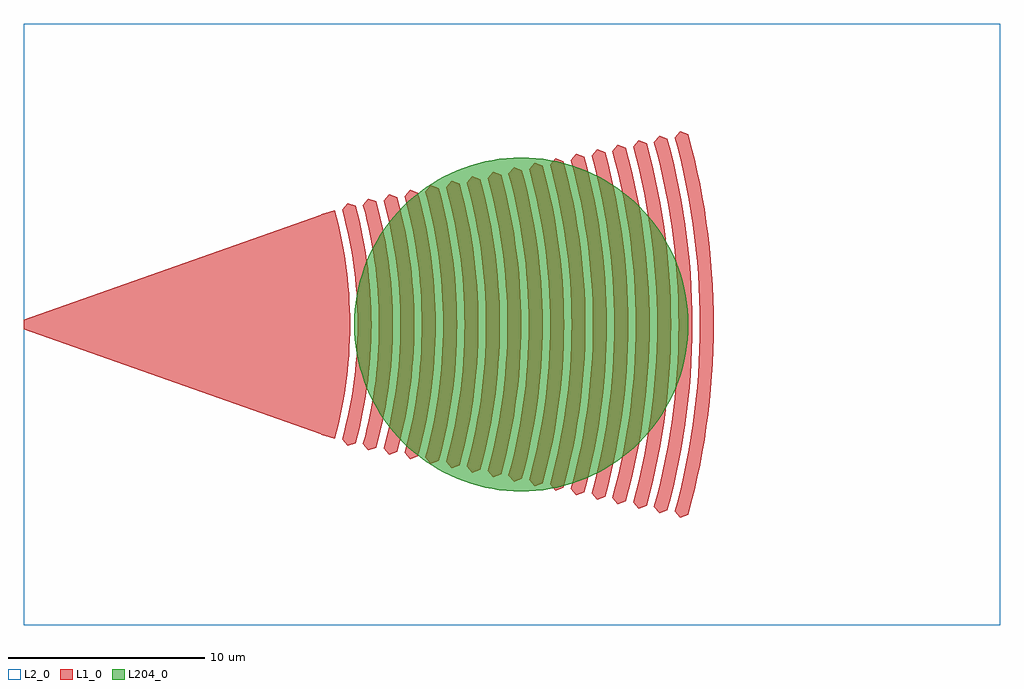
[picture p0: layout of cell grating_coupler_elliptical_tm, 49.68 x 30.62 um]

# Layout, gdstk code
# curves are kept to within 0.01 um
import gdstk
lib = gdstk.Library(unit=1e-6, precision=1e-09)
def R(c, l, rs):  # rectangles x0, y0, x1, y1
    for r in rs: c.add(gdstk.rectangle(r[:2], r[2:], *l))
def P(c, l, *ps):  # polygons
    for p in ps: c.add(gdstk.Polygon(p, *l))
L1_0 = (1, 0)
L2_0 = (2, 0)
L204_0 = (204, 0)

grating_coupler_elliptic = lib.new_cell('grating_coupler_elliptical_tm')
P(grating_coupler_elliptic, L1_0, [(16.476,-6.17),(16.194,-5.852),(16.39,-5.083),(16.558,-4.312),(16.758,-3.145),(16.855,-2.362),(16.925,-1.576),(16.968,-0.789),(16.982,0),(16.968,0.789),(16.925,1.576),(16.855,2.362),(16.758,3.145),(16.558,4.312),(16.39,5.083),(16.194,5.852),(16.476,6.17),(16.878,6.032),(17.078,5.246),(17.251,4.449),(17.457,3.245),(17.598,2.032),(17.656,1.22),(17.689,0),(17.656,-1.22),(17.598,-2.032),(17.457,-3.245),(17.251,-4.449),(17.078,-5.246),(16.878,-6.032)],
  [(17.534,-6.398),(17.252,-6.08),(17.456,-5.282),(17.63,-4.48),(17.776,-3.673),(17.892,-2.861),(17.98,-2.046),(18.038,-1.229),(18.07,0),(18.038,1.229),(17.98,2.046),(17.892,2.861),(17.776,3.673),(17.63,4.48),(17.456,5.282),(17.252,6.08),(17.534,6.398),(17.936,6.261),(18.144,5.444),(18.323,4.618),(18.538,3.368),(18.642,2.53),(18.744,1.267),(18.778,0),(18.744,-1.267),(18.642,-2.53),(18.538,-3.368),(18.323,-4.618),(18.144,-5.444),(17.936,-6.261)],
  [(18.592,-6.627),(18.311,-6.309),(18.616,-5.065),(18.782,-4.231),(18.918,-3.391),(19.023,-2.547),(19.099,-1.699),(19.144,-0.85),(19.16,0),(19.144,0.85),(19.099,1.699),(19.023,2.547),(18.918,3.391),(18.782,4.231),(18.616,5.065),(18.311,6.309),(18.592,6.627),(18.994,6.489),(19.21,5.643),(19.396,4.786),(19.617,3.491),(19.77,2.186),(19.852,0.875),(19.867,0),(19.852,-0.875),(19.77,-2.186),(19.617,-3.491),(19.396,-4.786),(19.21,-5.643),(18.994,-6.489)],
  [(19.65,-6.855),(19.369,-6.537),(19.587,-5.679),(19.776,-4.817),(19.998,-3.514),(20.108,-2.639),(20.186,-1.761),(20.233,-0.881),(20.248,0),(20.233,0.881),(20.186,1.761),(20.108,2.639),(19.998,3.514),(19.776,4.817),(19.587,5.679),(19.369,6.537),(19.65,6.855),(20.052,6.718),(20.276,5.841),(20.553,4.509),(20.698,3.614),(20.855,2.263),(20.919,1.359),(20.956,0),(20.919,-1.359),(20.855,-2.263),(20.698,-3.614),(20.553,-4.509),(20.276,-5.841),(20.052,-6.718)],
  [(20.71,-7.084),(20.428,-6.766),(20.654,-5.878),(20.847,-4.986),(21.009,-4.087),(21.14,-3.184),(21.236,-2.277),(21.302,-1.367),(21.338,0),(21.302,1.367),(21.236,2.277),(21.14,3.184),(21.009,4.087),(20.847,4.986),(20.654,5.878),(20.428,6.766),(20.71,7.084),(21.112,6.946),(21.342,6.04),(21.542,5.123),(21.778,3.737),(21.94,2.34),(22.008,1.405),(22.045,0),(22.008,-1.405),(21.94,-2.34),(21.778,-3.737),(21.542,-5.123),(21.342,-6.04),(21.112,-6.946)],
  [(21.768,-7.313),(21.485,-6.994),(21.719,-6.076),(21.92,-5.154),(22.088,-4.226),(22.222,-3.292),(22.321,-2.354),(22.39,-1.414),(22.426,0),(22.39,1.414),(22.321,2.354),(22.222,3.292),(22.088,4.226),(21.92,5.154),(21.719,6.076),(21.485,6.994),(21.768,7.313),(22.17,7.175),(22.408,6.239),(22.704,4.816),(22.858,3.86),(23.026,2.417),(23.095,1.451),(23.134,0),(23.095,-1.451),(23.026,-2.417),(22.858,-3.86),(22.704,-4.816),(22.408,-6.239),(22.17,-7.175)],
  [(22.826,-7.541),(22.544,-7.223),(22.786,-6.275),(22.992,-5.323),(23.165,-4.364),(23.304,-3.4),(23.446,-1.946),(23.498,-0.974),(23.515,0),(23.498,0.974),(23.446,1.946),(23.304,3.4),(23.165,4.364),(22.992,5.323),(22.786,6.275),(22.544,7.223),(22.826,7.541),(23.228,7.403),(23.584,5.95),(23.778,4.969),(24.006,3.488),(24.112,2.494),(24.205,0.999),(24.223,0),(24.205,-0.999),(24.112,-2.494),(24.006,-3.488),(23.778,-4.969),(23.584,-5.95),(23.228,-7.403)],
  [(23.884,-7.77),(23.602,-7.451),(23.851,-6.474),(24.064,-5.491),(24.244,-4.502),(24.385,-3.507),(24.533,-2.007),(24.588,-1.004),(24.604,0),(24.588,1.004),(24.533,2.007),(24.385,3.507),(24.244,4.502),(24.064,5.491),(23.851,6.474),(23.602,7.451),(23.884,7.77),(24.286,7.632),(24.653,6.133),(24.854,5.123),(24.942,4.615),(25.088,3.595),(25.198,2.571),(25.293,1.03),(25.312,0),(25.293,-1.03),(25.198,-2.571),(25.088,-3.595),(24.942,-4.615),(24.854,-5.123),(24.653,-6.133),(24.286,-7.632)],
  [(24.942,-7.998),(24.66,-7.68),(24.917,-6.672),(25.137,-5.66),(25.399,-4.128),(25.528,-3.1),(25.62,-2.069),(25.676,-1.035),(25.694,0),(25.676,1.035),(25.62,2.069),(25.528,3.1),(25.399,4.128),(25.137,5.66),(24.917,6.672),(24.66,7.68),(24.942,7.998),(25.344,7.861),(25.606,6.835),(25.929,5.276),(26.17,3.703),(26.282,2.648),(26.358,1.59),(26.402,0),(26.358,-1.59),(26.282,-2.648),(26.17,-3.703),(25.929,-5.276),(25.606,-6.835),(25.344,-7.861)],
  [(26,-8.227),(25.719,-7.909),(25.984,-6.871),(26.21,-5.828),(26.479,-4.251),(26.612,-3.193),(26.706,-2.131),(26.763,-1.066),(26.782,0),(26.763,1.066),(26.706,2.131),(26.612,3.193),(26.479,4.251),(26.21,5.828),(25.984,6.871),(25.719,7.909),(26,8.227),(26.402,8.089),(26.542,7.564),(26.792,6.501),(27.004,5.429),(27.252,3.81),(27.368,2.725),(27.446,1.636),(27.49,0),(27.446,-1.636),(27.368,-2.725),(27.252,-3.81),(27.004,-5.429),(26.792,-6.501),(26.542,-7.564),(26.402,-8.089)],
  [(27.058,-8.455),(26.777,-8.137),(27.049,-7.07),(27.282,-5.997),(27.56,-4.374),(27.696,-3.285),(27.793,-2.192),(27.852,-1.097),(27.871,0),(27.852,1.097),(27.793,2.192),(27.696,3.285),(27.56,4.374),(27.282,5.997),(27.049,7.07),(26.777,8.137),(27.058,8.455),(27.46,8.318),(27.862,6.684),(28.08,5.583),(28.334,3.918),(28.454,2.802),(28.56,1.122),(28.579,0),(28.56,-1.122),(28.454,-2.802),(28.334,-3.918),(28.08,-5.583),(27.862,-6.684),(27.46,-8.318)],
  [(28.118,-8.684),(27.835,-8.366),(28.24,-6.718),(28.46,-5.611),(28.64,-4.497),(28.78,-3.377),(28.88,-2.254),(28.94,-1.128),(28.96,0),(28.94,1.128),(28.88,2.254),(28.78,3.377),(28.64,4.497),(28.46,5.611),(28.24,6.718),(27.835,8.366),(28.118,8.684),(28.519,8.546),(28.804,7.431),(29.048,6.303),(29.155,5.736),(29.252,5.167),(29.416,4.026),(29.539,2.879),(29.621,1.729),(29.647,1.153),(29.668,0),(29.647,-1.153),(29.621,-1.729),(29.539,-2.879),(29.416,-4.026),(29.339,-4.597),(29.155,-5.736),(29.048,-6.303),(28.804,-7.431),(28.519,-8.546)],
  [(29.176,-8.912),(28.893,-8.594),(29.18,-7.467),(29.427,-6.334),(29.632,-5.193),(29.798,-4.045),(29.92,-2.893),(30.003,-1.737),(30.03,-1.158),(30.049,0),(30.03,1.158),(30.003,1.737),(29.92,2.893),(29.798,4.045),(29.632,5.193),(29.427,6.334),(29.18,7.467),(28.893,8.594),(29.176,8.912),(29.577,8.775),(29.869,7.629),(30.12,6.471),(30.23,5.889),(30.42,4.72),(30.567,3.545),(30.625,2.956),(30.71,1.775),(30.752,0.592),(30.758,0),(30.752,-0.592),(30.71,-1.775),(30.625,-2.956),(30.567,-3.545),(30.42,-4.72),(30.23,-5.889),(30.12,-6.471),(29.869,-7.629),(29.577,-8.775)],
  [(30.234,-9.141),(29.952,-8.823),(30.246,-7.665),(30.499,-6.502),(30.71,-5.331),(30.88,-4.153),(31.006,-2.97),(31.091,-1.783),(31.118,-1.189),(31.138,0),(31.118,1.189),(31.091,1.783),(31.006,2.97),(30.88,4.153),(30.71,5.331),(30.499,6.502),(30.246,7.665),(29.952,8.823),(30.234,9.141),(30.636,9.003),(30.79,8.418),(31.069,7.235),(31.305,6.043),(31.408,5.444),(31.582,4.241),(31.71,3.033),(31.798,1.821),(31.846,0),(31.798,-1.821),(31.71,-3.033),(31.582,-4.241),(31.408,-5.444),(31.305,-6.043),(31.069,-7.235),(30.79,-8.418),(30.636,-9.003)],
  [(31.292,-9.369),(31.01,-9.051),(31.312,-7.864),(31.572,-6.671),(31.788,-5.469),(31.88,-4.865),(32.032,-3.654),(32.14,-2.439),(32.206,-1.22),(32.228,0),(32.206,1.22),(32.14,2.439),(32.032,3.654),(31.88,4.865),(31.788,5.469),(31.572,6.671),(31.312,7.864),(31.01,9.051),(31.292,9.369),(31.694,9.232),(31.852,8.632),(32.139,7.418),(32.382,6.196),(32.487,5.582),(32.663,4.348),(32.796,3.11),(32.886,1.867),(32.93,0.623),(32.936,0),(32.93,-0.623),(32.886,-1.867),(32.796,-3.11),(32.663,-4.348),(32.487,-5.582),(32.382,-6.196),(32.139,-7.418),(31.852,-8.632),(31.694,-9.232)],
  [(32.35,-9.598),(32.068,-9.28),(32.378,-8.063),(32.644,-6.839),(32.866,-5.607),(33.044,-4.368),(33.116,-3.747),(33.228,-2.5),(33.294,-1.251),(33.316,0),(33.294,1.251),(33.228,2.5),(33.116,3.747),(33.044,4.368),(32.866,5.607),(32.644,6.839),(32.378,8.063),(32.068,9.28),(32.35,9.598),(32.752,9.46),(32.914,8.846),(33.207,7.602),(33.456,6.349),(33.564,5.72),(33.746,4.456),(33.882,3.187),(33.933,2.551),(34.002,1.276),(34.024,0),(34.002,-1.276),(33.933,-2.551),(33.882,-3.187),(33.746,-4.456),(33.564,-5.72),(33.456,-6.349),(33.207,-7.602),(32.914,-8.846),(32.752,-9.46)],
  [(33.408,-9.826),(33.126,-9.508),(33.444,-8.261),(33.716,-7.007),(33.944,-5.745),(34.126,-4.476),(34.264,-3.201),(34.314,-2.562),(34.383,-1.282),(34.406,0),(34.383,1.282),(34.314,2.562),(34.264,3.201),(34.126,4.476),(33.944,5.745),(33.716,7.007),(33.444,8.261),(33.126,9.508),(33.408,9.826),(33.81,9.689),(33.976,9.059),(34.278,7.786),(34.531,6.503),(34.642,5.858),(34.828,4.564),(34.968,3.264),(35.06,1.96),(35.09,1.307),(35.114,0),(35.09,-1.307),(35.06,-1.96),(34.968,-3.264),(34.828,-4.564),(34.642,-5.858),(34.531,-6.503),(34.278,-7.786),(33.976,-9.059),(33.81,-9.689)],
  [(0,0.25),(0,-0.25),(15.478,-5.713),(15.669,-4.966),(15.794,-4.401),(15.937,-3.643),(16.054,-2.881),(16.143,-2.116),(16.192,-1.54),(16.233,-0.77),(16.246,-0.193),(16.239,0.578),(16.204,1.348),(16.143,2.116),(16.054,2.881),(15.937,3.643),(15.794,4.401),(15.669,4.966),(15.478,5.713)],
  [(15.136,-5.623),(15.324,-4.885),(15.486,-4.143),(15.677,-3.022),(15.771,-2.27),(15.838,-1.515),(15.879,-0.758),(15.892,0),(15.879,0.758),(15.838,1.515),(15.771,2.27),(15.677,3.022),(15.486,4.143),(15.324,4.885),(15.136,5.623),(15.82,5.804),(16.099,4.665),(16.251,3.896),(16.376,3.122),(16.474,2.345),(16.544,1.565),(16.586,0.783),(16.6,0),(16.568,-1.174),(16.474,-2.345),(16.317,-3.51),(16.099,-4.665),(15.82,-5.804)])
R(grating_coupler_elliptic, L2_0, [(0,-15.312,49.68,15.312)])
P(grating_coupler_elliptic, L204_0, [(33.812,0),(33.78,0.741),(33.683,1.476),(33.611,1.84),(33.419,2.556),(33.165,3.253),(32.852,3.925),(32.481,4.567),(32.056,5.174),(31.579,5.743),(31.322,6.01),(31.055,6.267),(30.486,6.744),(29.879,7.169),(29.237,7.54),(28.565,7.853),(27.868,8.107),(27.152,8.299),(26.788,8.371),(26.053,8.468),(25.312,8.5),(24.571,8.468),(23.836,8.371),(23.472,8.299),(22.756,8.107),(22.059,7.853),(21.387,7.54),(20.745,7.169),(20.138,6.744),(19.569,6.267),(19.302,6.01),(19.045,5.743),(18.568,5.174),(18.143,4.567),(17.772,3.925),(17.459,3.253),(17.205,2.556),(17.013,1.84),(16.941,1.476),(16.844,0.741),(16.812,0),(16.844,-0.741),(16.941,-1.476),(17.013,-1.84),(17.205,-2.556),(17.459,-3.253),(17.772,-3.925),(18.143,-4.567),(18.568,-5.174),(19.045,-5.743),(19.302,-6.01),(19.569,-6.267),(20.138,-6.744),(20.745,-7.169),(21.387,-7.54),(22.059,-7.853),(22.756,-8.107),(23.472,-8.299),(23.836,-8.371),(24.571,-8.468),(25.312,-8.5),(26.053,-8.468),(26.788,-8.371),(27.152,-8.299),(27.868,-8.107),(28.565,-7.853),(29.237,-7.54),(29.879,-7.169),(30.486,-6.744),(31.055,-6.267),(31.322,-6.01),(31.579,-5.743),(32.056,-5.174),(32.481,-4.567),(32.852,-3.925),(33.165,-3.253),(33.419,-2.556),(33.611,-1.84),(33.683,-1.476),(33.78,-0.741)])

lib.write_gds('grating_coupler_elliptical_tm.gds')
